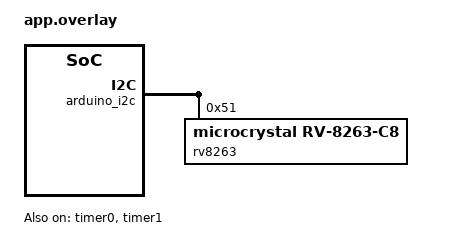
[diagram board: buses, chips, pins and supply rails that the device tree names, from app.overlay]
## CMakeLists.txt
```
cmake_minimum_required(VERSION 3.20.0)
# set(SHIELD x_nucleo_iks01a3)
# set(SHIELD adafruit_2_8_tft_touch_shield_v2)
find_package(Zephyr REQUIRED HINTS $ENV{ZEPHYR_BASE})
project(ZSWatch)

FILE(GLOB_RECURSE app_sources CONFIGURE_DEPENDS src/*.c)
target_sources(app PRIVATE ${app_sources})

target_include_directories(app PRIVATE
    src
    src/model
    src/model/sensors
    src/model/processing
    src/model/rtc
    src/controller
    src/controller/ble
    src/controller/input
    src/controller/thread
    src/vue
    src/vue/ui
    src/vue/ui/components
    src/vue/ui/screens
)
```

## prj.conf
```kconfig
CONFIG_LOG=y
CONFIG_STDOUT_CONSOLE=y
CONFIG_EVENTS=y
CONFIG_I2C=y
CONFIG_SPI=y
CONFIG_GPIO=y
CONFIG_SENSOR=y
CONFIG_SENSOR_LOG_LEVEL_DBG=y
CONFIG_DISPLAY=y
CONFIG_INPUT=y
CONFIG_INPUT_TSC2007=y
CONFIG_LVGL=y
CONFIG_LV_COLOR_DEPTH_16=y
CONFIG_LV_Z_MEM_POOL_SIZE=65536
CONFIG_LV_Z_BITS_PER_PIXEL=16
CONFIG_LV_Z_FULL_REFRESH=n
CONFIG_LV_Z_DOUBLE_VDB=n
CONFIG_LV_Z_VDB_SIZE=20
CONFIG_LV_Z_POINTER_INPUT=y
CONFIG_LV_USE_LOG=n

# Sensor triggers
CONFIG_HTS221_TRIGGER_NONE=y
CONFIG_LPS22HH_TRIGGER_OWN_THREAD=y
CONFIG_STTS751_TRIGGER_NONE=y
CONFIG_LIS2MDL_TRIGGER_NONE=y
CONFIG_LIS2DW12_TRIGGER_OWN_THREAD=y
CONFIG_LSM6DSO_ENABLE_TEMP=n
CONFIG_LSM6DSO_TRIGGER_OWN_THREAD=y

# RTC
CONFIG_RTC=y

# Hardware timers (Counter API) – timer0 (sleep 30s) + timer1 (sample 100ms)
CONFIG_COUNTER=y

# Augumenter size if draw too much on screen
CONFIG_CBPRINTF_FP_SUPPORT=y

# ── BLE ──────────────────────────────────────────
CONFIG_BT=y
CONFIG_BT_PERIPHERAL=y
CONFIG_BT_DEVICE_NAME="Smart Watch Timer_X"
CONFIG_BT_DEVICE_APPEARANCE=0
CONFIG_BT_MAX_CONN=1
CONFIG_BT_MAX_PAIRED=1

# GATT services
CONFIG_BT_DIS=y
CONFIG_BT_DIS_MANUF="Smart Watch Timer_X"
CONFIG_BT_DIS_MODEL="IKS01A3-nRF5340-adafruit_2_8_tft_touch_shield_v2"
CONFIG_BT_BAS=y
CONFIG_BT_GATT_CLIENT=y

CONFIG_SYSTEM_WORKQUEUE_STACK_SIZE=8192
CONFIG_MAIN_STACK_SIZE=4096
CONFIG_BT_RX_STACK_SIZE=2048

# Fusion de capteurs (zscilib)
CONFIG_ZSL=y
```

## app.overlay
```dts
&arduino_i2c {
	status = "okay";
	rv8263: rtc@51 {
		compatible = "microcrystal,rv-8263-c8";
		reg = <0x51>;
		status = "okay";
	};
};

&timer0 {
	status = "okay";
};

&timer1 {
	status = "okay";
};
```

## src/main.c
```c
#include <zephyr/kernel.h>

#include "input/buttons.h"
#include "thread/data_init_thread.h"
#include "thread/sampling_thread.h"
#include "thread/ble_thread.h"
#include "thread/rtc_thread.h"
#include "thread/ui_thread.h"
#include "thread/power_thread.h"

int main(void)
{
	(void)buttons_init();
	data_init_thread_start();
	ui_thread_start();
	k_sleep(K_MSEC(100));
	sampling_thread_start();
	ble_thread_start();
	rtc_thread_start();
	power_thread_start();

	while (1) {
		k_sleep(K_SECONDS(1));
	}
}
```

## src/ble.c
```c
#include <zephyr/kernel.h>
#include <zephyr/bluetooth/bluetooth.h>
#include <zephyr/bluetooth/conn.h>
#include <zephyr/bluetooth/gatt.h>
#include <zephyr/bluetooth/uuid.h>
#include <zephyr/settings/settings.h>
#include <zephyr/logging/log.h>
#include <zephyr/sys/byteorder.h>
#include <string.h>

LOG_MODULE_REGISTER(ble, LOG_LEVEL_INF);

/* ==================== UUIDs standard ==================== */
#define BT_UUID_ESS_VAL              0x181A  // Environmental Sensing Service
#define BT_UUID_TEMPERATURE_VAL       0x2A6E
#define BT_UUID_HUMIDITY_VAL           0x2A6F
#define BT_UUID_PRESSURE_VAL           0x2A6D  // Pression en pascals
#define BT_UUID_MAGNETIC_FLUX_3D_VAL   0x2AA0
#define BT_UUID_ACCELEROMETER_3D_VAL   0x2AA1

/* ==================== UUIDs pour Current Time Service ==================== */
#define BT_UUID_CTS_VAL                0x1805  // Current Time Service
#define BT_UUID_CURRENT_TIME_VAL        0x2A2B  // Current Time characteristic

/* Déclaration des UUID 16 bits */
static const struct bt_uuid_16 ess_uuid = BT_UUID_INIT_16(BT_UUID_ESS_VAL);
static const struct bt_uuid_16 temp_uuid = BT_UUID_INIT_16(BT_UUID_TEMPERATURE_VAL);
static const struct bt_uuid_16 humi_uuid = BT_UUID_INIT_16(BT_UUID_HUMIDITY_VAL);
static const struct bt_uuid_16 press_uuid = BT_UUID_INIT_16(BT_UUID_PRESSURE_VAL);
static const struct bt_uuid_16 mag_uuid = BT_UUID_INIT_16(BT_UUID_MAGNETIC_FLUX_3D_VAL);
static const struct bt_uuid_16 accel_uuid = BT_UUID_INIT_16(BT_UUID_ACCELEROMETER_3D_VAL);
static const struct bt_uuid_16 cts_uuid = BT_UUID_INIT_16(BT_UUID_CTS_VAL);
static const struct bt_uuid_16 current_time_uuid = BT_UUID_INIT_16(BT_UUID_CURRENT_TIME_VAL);

/* ==================== Variables pour les données capteurs ==================== */
static int16_t temp_value;
static uint16_t humi_value;
static uint32_t press_value;          // Pression en pascals
static int16_t mag_value[3];
static int16_t accel_value[3];

/* ==================== Variable pour l'heure (timestamp Unix simplifié) ==================== */
static uint32_t current_time; // secondes depuis 1970 (timestamp Unix)

/* ==================== Callbacks CCC pour les notifications ==================== */
static void temp_ccc_changed(const struct bt_gatt_attr *attr, uint16_t value)
{
    LOG_INF("Notifications température %s", (value == BT_GATT_CCC_NOTIFY) ? "activées" : "désactivées");
}

static void humi_ccc_changed(const struct bt_gatt_attr *attr, uint16_t value)
{
    LOG_INF("Notifications humidité %s", (value == BT_GATT_CCC_NOTIFY) ? "activées" : "désactivées");
}

static void press_ccc_changed(const struct bt_gatt_attr *attr, uint16_t value)
{
    LOG_INF("Notifications pression %s", (value == BT_GATT_CCC_NOTIFY) ? "activées" : "désactivées");
}

static void mag_ccc_changed(const struct bt_gatt_attr *attr, uint16_t value)
{
    LOG_INF("Notifications magnétomètre %s", (value == BT_GATT_CCC_NOTIFY) ? "activées" : "désactivées");
}

static void accel_ccc_changed(const struct bt_gatt_attr *attr, uint16_t value)
{
    LOG_INF("Notifications accélération %s", (value == BT_GATT_CCC_NOTIFY) ? "activées" : "désactivées");
}

/* ==================== Fonctions de lecture pour les caractéristiques ==================== */
static ssize_t read_temp(struct bt_conn *conn, const struct bt_gatt_attr *attr,
                         void *buf, uint16_t len, uint16_t offset)
{
    return bt_gatt_attr_read(conn, attr, buf, len, offset, &temp_value, sizeof(temp_value));
}

static ssize_t read_humi(struct bt_conn *conn, const struct bt_gatt_attr *attr,
                         void *buf, uint16_t len, uint16_t offset)
{
    return bt_gatt_attr_read(conn, attr, buf, len, offset, &humi_value, sizeof(humi_value));
}

static ssize_t read_press(struct bt_conn *conn, const struct bt_gatt_attr *attr,
                          void *buf, uint16_t len, uint16_t offset)
{
    return bt_gatt_attr_read(conn, attr, buf, len, offset, &press_value, sizeof(press_value));
}

static ssize_t read_mag(struct bt_conn *conn, const struct bt_gatt_attr *attr,
                        void *buf, uint16_t len, uint16_t offset)
{
    return bt_gatt_attr_read(conn, attr, buf, len, offset, mag_value, sizeof(mag_value));
}

static ssize_t read_accel(struct bt_conn *conn, const struct bt_gatt_attr *attr,
                          void *buf, uint16_t len, uint16_t offset)
{
    return bt_gatt_attr_read(conn, attr, buf, len, offset, accel_value, sizeof(accel_value));
}

/* ==================== Callback d'écriture pour la caractéristique Current Time ==================== */
static ssize_t write_current_time(struct bt_conn *conn,
                                   const struct bt_gatt_attr *attr,
                                   const void *buf, uint16_t len, uint16_t offset,
                                   uint8_t flags)
{
    LOG_INF("write_current_time called with len=%d", len);
    if (len != sizeof(current_time)) {
        LOG_ERR("Invalid length: %d (expected %d)", len, sizeof(current_time));
        return BT_GATT_ERR(BT_ATT_ERR_INVALID_ATTRIBUTE_LEN);
    }
    memcpy(&current_time, buf, sizeof(current_time));
    LOG_INF("Heure reçue via BLE : %u (timestamp Unix)", current_time);
    return len;
}

/* ==================== Lecture de la caractéristique Current Time ==================== */
static ssize_t read_current_time(struct bt_conn *conn,
                                   const struct bt_gatt_attr *attr,
                                   void *buf, uint16_t len, uint16_t offset)
{
    return bt_gatt_attr_read(conn, attr, buf, len, offset, &current_time, sizeof(current_time));
}

/* ==================== Définition des services GATT ==================== */

/* Service Environmental Sensing (ESS) */
BT_GATT_SERVICE_DEFINE(sensor_svc,
    BT_GATT_PRIMARY_SERVICE(&ess_uuid),

    /* Température */
    BT_GATT_CHARACTERISTIC(&temp_uuid.uuid,
                           BT_GATT_CHRC_READ | BT_GATT_CHRC_NOTIFY,
                           BT_GATT_PERM_READ,
                           read_temp, NULL, &temp_value),
    BT_GATT_CCC(temp_ccc_changed, BT_GATT_PERM_READ | BT_GATT_PERM_WRITE),

    /* Humidité */
    BT_GATT_CHARACTERISTIC(&humi_uuid.uuid,
                           BT_GATT_CHRC_READ | BT_GATT_CHRC_NOTIFY,
                           BT_GATT_PERM_READ,
                           read_humi, NULL, &humi_value),
    BT_GATT_CCC(humi_ccc_changed, BT_GATT_PERM_READ | BT_GATT_PERM_WRITE),

    /* Pression */
    BT_GATT_CHARACTERISTIC(&press_uuid.uuid,
                           BT_GATT_CHRC_READ | BT_GATT_CHRC_NOTIFY,
                           BT_GATT_PERM_READ,
                           read_press, NULL, &press_value),
    BT_GATT_CCC(press_ccc_changed, BT_GATT_PERM_READ | BT_GATT_PERM_WRITE),

    /* Magnétomètre */
    BT_GATT_CHARACTERISTIC(&mag_uuid.uuid,
                           BT_GATT_CHRC_READ | BT_GATT_CHRC_NOTIFY,
                           BT_GATT_PERM_READ,
                           read_mag, NULL, mag_value),
    BT_GATT_CCC(mag_ccc_changed, BT_GATT_PERM_READ | BT_GATT_PERM_WRITE),

    /* Accéléromètre */
    BT_GATT_CHARACTERISTIC(&accel_uuid.uuid,
                           BT_GATT_CHRC_READ | BT_GATT_CHRC_NOTIFY,
                           BT_GATT_PERM_READ,
                           read_accel, NULL, accel_value),
    BT_GATT_CCC(accel_ccc_changed, BT_GATT_PERM_READ | BT_GATT_PERM_WRITE),
);

/* Service Current Time (CTS) */
BT_GATT_SERVICE_DEFINE(cts_svc,
    BT_GATT_PRIMARY_SERVICE(&cts_uuid),
    BT_GATT_CHARACTERISTIC(&current_time_uuid.uuid,
                           BT_GATT_CHRC_READ | BT_GATT_CHRC_WRITE,
                           BT_GATT_PERM_READ | BT_GATT_PERM_WRITE,
                           read_current_time, write_current_time, &current_time),
);

/* Récupération des attributs pour les notifications (ESS) */
#define TEMP_ATTR  (&sensor_svc.attrs[2])
#define HUMI_ATTR  (&sensor_svc.attrs[5])
#define PRESS_ATTR (&sensor_svc.attrs[8])
#define MAG_ATTR   (&sensor_svc.attrs[11])
#define ACCEL_ATTR (&sensor_svc.attrs[14])

/* ==================== Callbacks de connexion ==================== */
static void connected(struct bt_conn *conn, uint8_t err)
{
    if (err) {
        LOG_ERR("Échec de connexion (err %u)", err);
    } else {
        LOG_INF("Connecté");
    }
}

static void disconnected(struct bt_conn *conn, uint8_t reason)
{
    LOG_INF("Déconnecté (raison %u)", reason);
}

BT_CONN_CB_DEFINE(conn_callbacks) = {
    .connected = connected,
    .disconnected = disconnected,
};

/* ==================== Publicité ==================== */
static const struct bt_data ad[] = {
    BT_DATA_BYTES(BT_DATA_FLAGS, (BT_LE_AD_GENERAL | BT_LE_AD_NO_BREDR)),
    BT_DATA(BT_DATA_NAME_COMPLETE, CONFIG_BT_DEVICE_NAME, sizeof(CONFIG_BT_DEVICE_NAME)-1),
};

static const struct bt_data sd[] = {
    BT_DATA_BYTES(BT_DATA_UUID16_ALL,
                  BT_UUID_ESS_VAL & 0xFF, BT_UUID_ESS_VAL >> 8,
                  BT_UUID_CTS_VAL & 0xFF, BT_UUID_CTS_VAL >> 8),
};

/* ==================== Initialisation ==================== */
void ble_init(void)
{
    int err;

    err = bt_enable(NULL);
    if (err) {
        LOG_ERR("bt_enable failed (err %d)", err);
        return;
    }

    LOG_INF("Bluetooth initialisé");

    /* Charger les settings (bonding) */
    settings_load();

    err = bt_le_adv_start(BT_LE_ADV_CONN, ad, ARRAY_SIZE(ad), sd, ARRAY_SIZE(sd));
    if (err) {
        LOG_ERR("Publicité échouée (err %d)", err);
    } else {
        LOG_INF("Publicité active. Nom : %s", CONFIG_BT_DEVICE_NAME);
    }
}

/* ==================== Mise à jour des données capteurs ==================== */
void ble_update_temperature(int16_t temp_100)
{
    temp_value = temp_100;
    uint8_t buf[2];
    sys_put_le16(temp_value, buf);
    bt_gatt_notify(NULL, TEMP_ATTR, buf, sizeof(buf));
}

void ble_update_humidity(uint16_t humi_100)
{
    humi_value = humi_100;
    uint8_t buf[2];
    sys_put_le16(humi_value, buf);
    bt_gatt_notify(NULL, HUMI_ATTR, buf, sizeof(buf));
}

void ble_update_pressure(uint32_t pressure)
{
    press_value = pressure;
    uint8_t buf[4];
    sys_put_le32(press_value, buf);
    bt_gatt_notify(NULL, PRESS_ATTR, buf, sizeof(buf));
}

void ble_update_magnetometer(int16_t x_100, int16_t y_100, int16_t z_100)
{
    mag_value[0] = x_100;
    mag_value[1] = y_100;
    mag_value[2] = z_100;
    bt_gatt_notify(NULL, MAG_ATTR, mag_value, sizeof(mag_value));
}

void ble_update_acceleration(int16_t x_100, int16_t y_100, int16_t z_100)
{
    accel_value[0] = x_100;
    accel_value[1] = y_100;
    accel_value[2] = z_100;
    bt_gatt_notify(NULL, ACCEL_ATTR, accel_value, sizeof(accel_value));
}

/* ==================== Fonction pour obtenir l'heure (pour la RTC) ==================== */
uint32_t ble_get_current_time(void)
{
    return current_time;
}
```

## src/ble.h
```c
#ifndef BLE_H
#define BLE_H

#include <zephyr/types.h>

/**
 * @brief Initialise le BLE, démarre la publicité.
 */
void ble_init(void);

/**
 * @brief Met à jour la température (valeur en 0.01 °C)
 * @param temp_100 temperature * 100 (ex: 25.0°C -> 2500)
 */
void ble_update_temperature(int16_t temp_100);

/**
 * @brief Met à jour l'humidité (valeur en 0.01 %)
 * @param humi_100 humidité * 100 (ex: 50.0% -> 5000)
 */
void ble_update_humidity(uint16_t humi_100);

/**
 * @brief Met à jour la pression (valeur en Pa, ou 0.01 kPa)
 *        À adapter selon le format choisi.
 * @param pressure pression en pascals (ex: 101325)
 */
void ble_update_pressure(uint32_t pressure);

/**
 * @brief Met à jour l'accélération (axes en 0.01 m/s² ou 0.01 G)
 * @param x_100, y_100, z_100 valeurs * 100
 */
void ble_update_acceleration(int16_t x_100, int16_t y_100, int16_t z_100);

/**
 * @brief Met à jour le champ magnétique (axes en 0.01 µT)
 * @param x_100, y_100, z_100 valeurs * 100
 */
void ble_update_magnetometer(int16_t x_100, int16_t y_100, int16_t z_100);

#endif /* BLE_H */
```

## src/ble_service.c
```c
#include "ble_service.h"
#include <zephyr/kernel.h>
#include <zephyr/bluetooth/bluetooth.h>
#include <zephyr/bluetooth/hci.h>
#include <zephyr/bluetooth/conn.h>
#include <zephyr/bluetooth/gatt.h>
#include <zephyr/bluetooth/uuid.h>
#include <zephyr/logging/log.h>
#include <string.h>

LOG_MODULE_REGISTER(ble_service, LOG_LEVEL_INF);

/* ================================================================
 *  UUIDs standards BLE SIG (nRF Connect les décode automatiquement)
 * ================================================================
 *  Service : Environmental Sensing (0x181A)
 *  Chars   : Temperature (0x2A6E), Humidity (0x2A6F), Pressure (0x2A6D)
 *
 *  Service custom : mouvement 12345678-1234-5678-1234-56789abc0000
 *  Chars   : Accel (…0004), Magn (…0005), Steps (…0006)
 * ================================================================ */

/* ── UUIDs custom pour mouvement ──────────────────────────────── */
#define BT_UUID_MOTION_SVC_VAL \
    BT_UUID_128_ENCODE(0x12345678, 0x1234, 0x5678, 0x1234, 0x56789abc0000)

#define BT_UUID_CHAR_ACCEL_VAL \
    BT_UUID_128_ENCODE(0x12345678, 0x1234, 0x5678, 0x1234, 0x56789abc0004)

#define BT_UUID_CHAR_MAGN_VAL \
    BT_UUID_128_ENCODE(0x12345678, 0x1234, 0x5678, 0x1234, 0x56789abc0005)

#define BT_UUID_CHAR_STEPS_VAL \
    BT_UUID_128_ENCODE(0x12345678, 0x1234, 0x5678, 0x1234, 0x56789abc0006)

static struct bt_uuid_128 motion_svc_uuid = BT_UUID_INIT_128(BT_UUID_MOTION_SVC_VAL);
static struct bt_uuid_128 accel_uuid      = BT_UUID_INIT_128(BT_UUID_CHAR_ACCEL_VAL);
static struct bt_uuid_128 magn_uuid       = BT_UUID_INIT_128(BT_UUID_CHAR_MAGN_VAL);
static struct bt_uuid_128 steps_uuid      = BT_UUID_INIT_128(BT_UUID_CHAR_STEPS_VAL);

/* ================================================================
 *  Données internes
 * ================================================================ */
static struct ble_sensor_data current_data;
static struct bt_conn *current_conn;

/* ── Flags notification (CCC) ─────────────────────────────────── */
static bool notify_temp_enabled;
static bool notify_hum_enabled;
static bool notify_press_enabled;
static bool notify_accel_enabled;
static bool notify_magn_enabled;
static bool notify_steps_enabled;

/* ================================================================
 *  Lecture GATT – callbacks
 * ================================================================ */

/* ── Environmental Sensing chars ──────────────────────────────── */
static ssize_t read_temp(struct bt_conn *conn,
                         const struct bt_gatt_attr *attr,
                         void *buf, uint16_t len, uint16_t offset)
{
    return bt_gatt_attr_read(conn, attr, buf, len, offset,
                             &current_data.temperature,
                             sizeof(current_data.temperature));
}

static ssize_t read_hum(struct bt_conn *conn,
                        const struct bt_gatt_attr *attr,
                        void *buf, uint16_t len, uint16_t offset)
{
    return bt_gatt_attr_read(conn, attr, buf, len, offset,
                             &current_data.humidity,
                             sizeof(current_data.humidity));
}

static ssize_t read_press(struct bt_conn *conn,
                          const struct bt_gatt_attr *attr,
                          void *buf, uint16_t len, uint16_t offset)
{
    return bt_gatt_attr_read(conn, attr, buf, len, offset,
                             &current_data.pressure,
                             sizeof(current_data.pressure));
}

/* ── Motion chars ─────────────────────────────────────────────── */
static ssize_t read_accel(struct bt_conn *conn,
                          const struct bt_gatt_attr *attr,
                          void *buf, uint16_t len, uint16_t offset)
{
    return bt_gatt_attr_read(conn, attr, buf, len, offset,
                             &current_data.accel,
                             sizeof(current_data.accel));
}

static ssize_t read_magn(struct bt_conn *conn,
                         const struct bt_gatt_attr *attr,
                         void *buf, uint16_t len, uint16_t offset)
{
    return bt_gatt_attr_read(conn, attr, buf, len, offset,
                             &current_data.magn,
                             sizeof(current_data.magn));
}

static ssize_t read_steps(struct bt_conn *conn,
                          const struct bt_gatt_attr *attr,
                          void *buf, uint16_t len, uint16_t offset)
{
    return bt_gatt_attr_read(conn, attr, buf, len, offset,
                             &current_data.steps,
                             sizeof(current_data.steps));
}

/* ── CCC changed callbacks ────────────────────────────────────── */
static void ccc_temp_changed(const struct bt_gatt_attr *attr, uint16_t value)
{
    notify_temp_enabled = (value == BT_GATT_CCC_NOTIFY);
    LOG_INF("Temp notifications %s", notify_temp_enabled ? "ON" : "OFF");
}

static void ccc_hum_changed(const struct bt_gatt_attr *attr, uint16_t value)
{
    notify_hum_enabled = (value == BT_GATT_CCC_NOTIFY);
    LOG_INF("Humidity notifications %s", notify_hum_enabled ? "ON" : "OFF");
}

static void ccc_press_changed(const struct bt_gatt_attr *attr, uint16_t value)
{
    notify_press_enabled = (value == BT_GATT_CCC_NOTIFY);
    LOG_INF("Pressure notifications %s", notify_press_enabled ? "ON" : "OFF");
}

static void ccc_accel_changed(const struct bt_gatt_attr *attr, uint16_t value)
{
    notify_accel_enabled = (value == BT_GATT_CCC_NOTIFY);
    LOG_INF("Accel notifications %s", notify_accel_enabled ? "ON" : "OFF");
}

static void ccc_magn_changed(const struct bt_gatt_attr *attr, uint16_t value)
{
    notify_magn_enabled = (value == BT_GATT_CCC_NOTIFY);
    LOG_INF("Magn notifications %s", notify_magn_enabled ? "ON" : "OFF");
}

static void ccc_steps_changed(const struct bt_gatt_attr *attr, uint16_t value)
{
    notify_steps_enabled = (value == BT_GATT_CCC_NOTIFY);
    LOG_INF("Steps notifications %s", notify_steps_enabled ? "ON" : "OFF");
}

/* ================================================================
 *  Service 1 : Environmental Sensing (UUID standard 0x181A)
 *  → nRF Connect affiche automatiquement "Temperature", "Humidity",
 *    "Pressure" avec les bonnes unités.
 * ================================================================ */
BT_GATT_SERVICE_DEFINE(ess_svc,
    BT_GATT_PRIMARY_SERVICE(BT_UUID_ESS),

    /* Temperature – UUID 0x2A6E – int16, résolution 0.01 °C */
    BT_GATT_CHARACTERISTIC(BT_UUID_TEMPERATURE,
                           BT_GATT_CHRC_READ | BT_GATT_CHRC_NOTIFY,
                           BT_GATT_PERM_READ,
                           read_temp, NULL, NULL),
    BT_GATT_CCC(ccc_temp_changed, BT_GATT_PERM_READ | BT_GATT_PERM_WRITE),

    /* Humidity – UUID 0x2A6F – uint16, résolution 0.01 % */
    BT_GATT_CHARACTERISTIC(BT_UUID_HUMIDITY,
                           BT_GATT_CHRC_READ | BT_GATT_CHRC_NOTIFY,
                           BT_GATT_PERM_READ,
                           read_hum, NULL, NULL),
    BT_GATT_CCC(ccc_hum_changed, BT_GATT_PERM_READ | BT_GATT_PERM_WRITE),

    /* Pressure – UUID 0x2A6D – uint32, résolution 0.1 Pa */
    BT_GATT_CHARACTERISTIC(BT_UUID_PRESSURE,
                           BT_GATT_CHRC_READ | BT_GATT_CHRC_NOTIFY,
                           BT_GATT_PERM_READ,
                           read_press, NULL, NULL),
    BT_GATT_CCC(ccc_press_changed, BT_GATT_PERM_READ | BT_GATT_PERM_WRITE),
);

/* ================================================================
 *  Service 2 : Motion (UUID custom) avec User Description
 *  → Les descripteurs permettent à nRF Connect d'afficher
 *    le nom de chaque caractéristique.
 * ================================================================ */
BT_GATT_SERVICE_DEFINE(motion_svc,
    BT_GATT_PRIMARY_SERVICE(&motion_svc_uuid),

    /* Accéléromètre (3 × int16, mg) */
    BT_GATT_CHARACTERISTIC(&accel_uuid.uuid,
                           BT_GATT_CHRC_READ | BT_GATT_CHRC_NOTIFY,
                           BT_GATT_PERM_READ,
                           read_accel, NULL, NULL),
    BT_GATT_DESCRIPTOR(BT_UUID_GATT_CUD, BT_GATT_PERM_READ,
                        NULL, NULL, (void *)"Accelerometer XYZ (mg)"),
    BT_GATT_CCC(ccc_accel_changed, BT_GATT_PERM_READ | BT_GATT_PERM_WRITE),

    /* Magnétomètre (3 × int16, mGauss) */
    BT_GATT_CHARACTERISTIC(&magn_uuid.uuid,
                           BT_GATT_CHRC_READ | BT_GATT_CHRC_NOTIFY,
                           BT_GATT_PERM_READ,
                           read_magn, NULL, NULL),
    BT_GATT_DESCRIPTOR(BT_UUID_GATT_CUD, BT_GATT_PERM_READ,
                        NULL, NULL, (void *)"Magnetometer XYZ (mGauss)"),
    BT_GATT_CCC(ccc_magn_changed, BT_GATT_PERM_READ | BT_GATT_PERM_WRITE),

    /* Compteur de pas (uint32) */
    BT_GATT_CHARACTERISTIC(&steps_uuid.uuid,
                           BT_GATT_CHRC_READ | BT_GATT_CHRC_NOTIFY,
                           BT_GATT_PERM_READ,
                           read_steps, NULL, NULL),
    BT_GATT_DESCRIPTOR(BT_UUID_GATT_CUD, BT_GATT_PERM_READ,
                        NULL, NULL, (void *)"Step Counter"),
    BT_GATT_CCC(ccc_steps_changed, BT_GATT_PERM_READ | BT_GATT_PERM_WRITE),
);

/* ================================================================
 *  Advertising – annonce ESS standard pour que les scanners
 *  sachent qu'on propose des données environnementales.
 * ================================================================ */
static const struct bt_data ad[] = {
    BT_DATA_BYTES(BT_DATA_FLAGS,
                  BT_LE_AD_GENERAL | BT_LE_AD_NO_BREDR),
    BT_DATA_BYTES(BT_DATA_UUID16_ALL,
                  BT_UUID_16_ENCODE(BT_UUID_ESS_VAL)),
};

static const struct bt_data sd[] = {
    BT_DATA(BT_DATA_NAME_COMPLETE, "Smart Watch Sensor Hub",
            sizeof("Smart Watch Sensor Hub") - 1),
};

/* ================================================================
 *  Connexion callbacks
 * ================================================================ */
static void connected(struct bt_conn *conn, uint8_t err)
{
    if (err) {
        LOG_ERR("Connection failed (err %u)", err);
        return;
    }
    LOG_INF("BLE Connected");
    current_conn = bt_conn_ref(conn);
}

static void disconnected(struct bt_conn *conn, uint8_t reason)
{
    LOG_INF("BLE Disconnected (reason %u)", reason);
    if (current_conn) {
        bt_conn_unref(current_conn);
        current_conn = NULL;
    }
}

BT_CONN_CB_DEFINE(conn_callbacks) = {
    .connected    = connected,
    .disconnected = disconnected,
};

/* ================================================================
 *  API publique
 * ================================================================ */
int ble_service_init(void)
{
    int err;

    err = bt_enable(NULL);
    if (err) {
        LOG_ERR("Bluetooth init failed (err %d)", err);
        return err;
    }
    LOG_INF("Bluetooth initialized");

    err = bt_le_adv_start(BT_LE_ADV_CONN, ad, ARRAY_SIZE(ad),
                          sd, ARRAY_SIZE(sd));
    if (err) {
        LOG_ERR("Advertising failed to start (err %d)", err);
        return err;
    }
    LOG_INF("BLE Advertising started as \"Smart Watch Sensor Hub\"");

    return 0;
}

bool ble_service_is_connected(void)
{
    return (current_conn != NULL);
}

/* ── Helper : envoyer une notification ─────────────────────────── */
static void notify_attr(const struct bt_gatt_attr *attr,
                        const void *data, uint16_t len, bool enabled)
{
    if (!enabled || !current_conn) {
        return;
    }

    int err = bt_gatt_notify(current_conn, attr, data, len);
    if (err && err != -ENOTCONN) {
        LOG_WRN("Notify failed (err %d)", err);
    }
}

void ble_service_update(const struct ble_sensor_data *data)
{
    memcpy(&current_data, data, sizeof(current_data));

    /*
     * ess_svc.attrs[] indices :
     *   0  = Service ESS
     *   1  = Char decl temp,  2 = value temp,  3 = CCC temp
     *   4  = Char decl hum,   5 = value hum,   6 = CCC hum
     *   7  = Char decl press, 8 = value press,  9 = CCC press
     *
     * motion_svc.attrs[] indices :
     *   0  = Service Motion
     *   1  = Char decl accel, 2 = value accel, 3 = CUD, 4 = CCC accel
     *   5  = Char decl magn,  6 = value magn,  7 = CUD, 8 = CCC magn
     *   9  = Char decl steps,10 = value steps, 11= CUD, 12= CCC steps
     */
    notify_attr(&ess_svc.attrs[2],
                &current_data.temperature, sizeof(current_data.temperature),
                notify_temp_enabled);

    notify_attr(&ess_svc.attrs[5],
                &current_data.humidity, sizeof(current_data.humidity),
                notify_hum_enabled);

    notify_attr(&ess_svc.attrs[8],
                &current_data.pressure, sizeof(current_data.pressure),
                notify_press_enabled);

    notify_attr(&motion_svc.attrs[2],
                &current_data.accel, sizeof(current_data.accel),
                notify_accel_enabled);

    notify_attr(&motion_svc.attrs[6],
                &current_data.magn, sizeof(current_data.magn),
                notify_magn_enabled);

    notify_attr(&motion_svc.attrs[10],
                &current_data.steps, sizeof(current_data.steps),
                notify_steps_enabled);
}
```

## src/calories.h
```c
#ifndef CALORIES_H
#define CALORIES_H

#include <stdint.h>
#include "activity.h"   // pour activity_t

typedef struct {
    double weight_kg;        // poids de l'utilisateur en kg
    double total_calories;   // calories totales brûlées
} CaloriesCounter;

void calories_init(CaloriesCounter *cc, double weight_kg);
void calories_add_distance(CaloriesCounter *cc, double distance_m, activity_t activity);
double calories_get(const CaloriesCounter *cc);
void calories_reset(CaloriesCounter *cc);

#endif
```

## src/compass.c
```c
#include "compass.h"
#include <math.h>

#define PI 3.14159265358979323846

void compass_init(Compass *comp)
{
    comp->heading = 0.0;
    comp->x = comp->y = comp->z = 0.0;
    // Si calibration, mettre les offsets à zéro
    comp->offset_x = comp->offset_y = comp->offset_z = 0.0;
}

void compass_update(Compass *comp, const struct sensor_value magn[3])
{
    // Convertir les valeurs en double
    double mx = sensor_value_to_double(&magn[0]);
    double my = sensor_value_to_double(&magn[1]);
    double mz = sensor_value_to_double(&magn[2]);

    // Appliquer les offsets de calibration si nécessaire
    mx -= comp->offset_x;
    my -= comp->offset_y;
    mz -= comp->offset_z;

    comp->x = mx;
    comp->y = my;
    comp->z = mz;

    // Calcul de l'angle (en radians) en utilisant X et Y
    double angle_rad = atan2(my, mx);
    // Conversion en degrés et mise dans l'intervalle [0, 360)
    double angle_deg = angle_rad * 180.0 / PI;
    if (angle_deg < 0) {
        angle_deg += 360.0;
    }
    comp->heading = angle_deg;
}

double compass_get_heading(const Compass *comp)
{
    return comp->heading;
}
```

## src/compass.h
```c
#ifndef COMPASS_H
#define COMPASS_H

#include <zephyr/drivers/sensor.h>
#include <stdint.h>

typedef struct {
    double heading;         // angle en degrés (0-360)
    double x, y, z;         // dernières valeurs brutes (en µT)
    double offset_x, offset_y, offset_z; // calibration (optionnel)
} Compass;

void compass_init(Compass *comp);
void compass_update(Compass *comp, const struct sensor_value magn[3]);
double compass_get_heading(const Compass *comp);
const char* compass_direction_to_str(double heading);   // <-- ajout

#endif /* COMPASS_H */
```

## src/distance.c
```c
#include "distance.h"

void distance_init(DistanceCounter *dc, double stride_length)
{
    dc->stride_length = stride_length;
    dc->total_distance = 0.0;
}

void distance_add_steps(DistanceCounter *dc, uint32_t steps_added)
{
    dc->total_distance += steps_added * dc->stride_length;
}

double distance_get(const DistanceCounter *dc)
{
    return dc->total_distance;
}

void distance_reset(DistanceCounter *dc)
{
    dc->total_distance = 0.0;
}
```

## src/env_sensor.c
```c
#include "env_sensor.h"
#include <zephyr/device.h>

int env_init(EnvSensor *s) {
    // Récupération des instances depuis le Device Tree
    s->hts221 = DEVICE_DT_GET_ONE(st_hts221);
    s->lps22hh = DEVICE_DT_GET_ONE(st_lps22hh);

    if (!device_is_ready(s->hts221) || !device_is_ready(s->lps22hh)) {
        return -1;
    }

    // Configuration de la fréquence du LPS22HH à 100 Hz
    struct sensor_value odr = { .val1 = 100, .val2 = 0 };
    sensor_attr_set(s->lps22hh, SENSOR_CHAN_ALL, SENSOR_ATTR_SAMPLING_FREQUENCY, &odr);

    return 0;
}

int env_update(EnvSensor *s) {
    // Lecture des échantillons (Fetch)
    if (sensor_sample_fetch(s->hts221) < 0 || sensor_sample_fetch(s->lps22hh) < 0) {
        return -1;
    }

    // Extraction des données (Get)
    sensor_channel_get(s->hts221, SENSOR_CHAN_AMBIENT_TEMP, &s->temp_hts);
    sensor_channel_get(s->hts221, SENSOR_CHAN_HUMIDITY, &s->humidity);
    sensor_channel_get(s->lps22hh, SENSOR_CHAN_PRESS, &s->pressure);
    sensor_channel_get(s->lps22hh, SENSOR_CHAN_AMBIENT_TEMP, &s->temp_lps);

    return 0;
}
```

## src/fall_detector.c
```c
#include "fall_detector.h"
#include <math.h>
#include <zephyr/kernel.h>

#define IMPACT_THRESHOLD 30.0   // m/s² (environ 3g)
#define POST_IMPACT_DURATION 2000 // ms
#define REST_THRESHOLD 1.2       // m/s²

void fall_detector_init(FallDetector *fd)
{
    fd->state = FALL_STATE_NORMAL;
    fd->impact_time = 0;
    fd->fall_detected = false;
}

bool fall_detector_update(FallDetector *fd, double ax, double ay, double az)
{
    double mag = sqrt(ax*ax + ay*ay + az*az);
    int64_t now = k_uptime_get();
    bool fall_now = false;

    switch (fd->state) {
        case FALL_STATE_NORMAL:
            if (mag > IMPACT_THRESHOLD) {
                fd->state = FALL_STATE_IMPACT;
                fd->impact_time = now;
            }
            break;

        case FALL_STATE_IMPACT:
            if (mag < REST_THRESHOLD) {
                fd->state = FALL_STATE_POST_IMPACT;
            } else if (now - fd->impact_time > 500) {
                fd->state = FALL_STATE_NORMAL;
            }
            break;

        case FALL_STATE_POST_IMPACT:
            if (mag < REST_THRESHOLD) {
                if (now - fd->impact_time > POST_IMPACT_DURATION) {
                    fd->fall_detected = true;
                    fall_now = true;
                    fd->state = FALL_STATE_NORMAL;
                }
            } else {
                fd->state = FALL_STATE_NORMAL;
            }
            break;
    }
    return fall_now;
}

bool fall_detector_get_and_clear(FallDetector *fd)
{
    bool ret = fd->fall_detected;
    fd->fall_detected = false;
    return ret;
}
```

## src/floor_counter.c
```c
#include "floor_counter.h"
#include <math.h>

#define FLOOR_HEIGHT 3.0   // hauteur moyenne d'un étage en mètres

void floor_counter_init(FloorCounter *fc)
{
    fc->floor_count = 0;
    fc->last_altitude = 0.0;
    fc->initialized = false;
}

void floor_counter_update(FloorCounter *fc, double altitude_m)
{
    if (!fc->initialized) {
        fc->last_altitude = altitude_m;
        fc->initialized = true;
        return;
    }

    double diff = altitude_m - fc->last_altitude;
    if (fabs(diff) >= FLOOR_HEIGHT / 2.0) {
        int floors = (int)(diff / FLOOR_HEIGHT);
        fc->floor_count += floors;
        fc->last_altitude = altitude_m;
    }
}

int floor_counter_get(const FloorCounter *fc)
{
    return fc->floor_count;
}
```

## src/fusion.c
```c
#include "fusion.h"
#include <math.h>

#define _USE_MATH_DEFINES
#include <math.h>
#ifndef M_PI
#define M_PI 3.14159265358979323846
#endif

#define BETA 0.1f  // paramètre du filtre Madgwick (à ajuster)

static float q0 = 1.0f, q1 = 0.0f, q2 = 0.0f, q3 = 0.0f; // quaternion

void fusion_init(void)
{
    q0 = 1.0f;
    q1 = q2 = q3 = 0.0f;
}

static void madgwick_update(float gx, float gy, float gz,
                            float ax, float ay, float az,
                            float mx, float my, float mz,
                            float dt)
{
    float recipNorm;
    float s0, s1, s2, s3;
    float qDot1, qDot2, qDot3, qDot4;
    float hx, hy;
    float _2q0mx, _2q0my, _2q0mz, _2q1mx, _2bx, _2bz, _4bx, _4bz, _2q0, _2q1, _2q2, _2q3, _2q0q2, _2q2q3, q0q0, q0q1, q0q2, q0q3, q1q1, q1q2, q1q3, q2q2, q2q3, q3q3;

    // Dérivée du quaternion à partir du gyroscope
    qDot1 = 0.5f * (-q1 * gx - q2 * gy - q3 * gz);
    qDot2 = 0.5f * ( q0 * gx + q2 * gz - q3 * gy);
    qDot3 = 0.5f * ( q0 * gy - q1 * gz + q3 * gx);
    qDot4 = 0.5f * ( q0 * gz + q1 * gy - q2 * gx);

    // Calcul du retour d'erreur seulement si accéléromètre et magnétomètre sont disponibles
    if (!(ax == 0.0f && ay == 0.0f && az == 0.0f)) {

        // Normalisation accéléromètre
        recipNorm = 1.0f / sqrtf(ax * ax + ay * ay + az * az);
        ax *= recipNorm;
        ay *= recipNorm;
        az *= recipNorm;

        // Normalisation magnétomètre
        recipNorm = 1.0f / sqrtf(mx * mx + my * my + mz * mz);
        mx *= recipNorm;
        my *= recipNorm;
        mz *= recipNorm;

        // Variables auxiliaires
        _2q0mx = 2.0f * q0 * mx;
        _2q0my = 2.0f * q0 * my;
        _2q0mz = 2.0f * q0 * mz;
        _2q1mx = 2.0f * q1 * mx;
        _2q0 = 2.0f * q0;
        _2q1 = 2.0f * q1;
        _2q2 = 2.0f * q2;
        _2q3 = 2.0f * q3;
        _2q0q2 = 2.0f * q0 * q2;
        _2q2q3 = 2.0f * q2 * q3;
        q0q0 = q0 * q0;
        q0q1 = q0 * q1;
        q0q2 = q0 * q2;
        q0q3 = q0 * q3;
        q1q1 = q1 * q1;
        q1q2 = q1 * q2;
        q1q3 = q1 * q3;
        q2q2 = q2 * q2;
        q2q3 = q2 * q3;
        q3q3 = q3 * q3;

        // Direction de référence du champ magnétique terrestre
        hx = mx * q0q0 - _2q0my * q3 + _2q0mz * q2 + mx * q1q1 + _2q1 * my * q2 + _2q1 * mz * q3 - mx * q2q2 - mx * q3q3;
        hy = _2q0mx * q3 + my * q0q0 - _2q0mz * q1 + _2q1mx * q2 - my * q1q1 + my * q2q2 + _2q2 * mz * q3 - my * q3q3;
        _2bx = sqrtf(hx * hx + hy * hy);
        _2bz = -_2q0mx * q2 + _2q0my * q1 + mz * q0q0 + _2q1mx * q3 - mz * q1q1 + _2q2 * my * q3 - mz * q2q2 + mz * q3q3;
        _4bx = 2.0f * _2bx;
        _4bz = 2.0f * _2bz;

        // Pas de correction du gradient
        s0 = -_2q2 * (2.0f * q1q3 - _2q0q2 - ax) + _2q1 * (2.0f * q0q1 + _2q2q3 - ay) - _2bz * q2 * (_2bx * (0.5f - q2q2 - q3q3) + _2bz * (q1q3 - q0q2) - mx) + (-_2bx * q3 + _2bz * q1) * (_2bx * (q1q2 - q0q3) + _2bz * (q0q1 + q2q3) - my) + _2bx * q2 * (_2bx * (q0q2 + q1q3) + _2bz * (0.5f - q1q1 - q2q2) - mz);
        s1 = _2q3 * (2.0f * q1q3 - _2q0q2 - ax) + _2q0 * (2.0f * q0q1 + _2q2q3 - ay) - 4.0f * q1 * (1 - 2.0f * q1q1 - 2.0f * q2q2 - az) + _2bz * q3 * (_2bx * (0.5f - q2q2 - q3q3) + _2bz * (q1q3 - q0q2) - mx) + (_2bx * q2 + _2bz * q0) * (_2bx * (q1q2 - q0q3) + _2bz * (q0q1 + q2q3) - my) + (_2bx * q3 - _4bz * q1) * (_2bx * (q0q2 + q1q3) + _2bz * (0.5f - q1q1 - q2q2) - mz);
        s2 = -_2q0 * (2.0f * q1q3 - _2q0q2 - ax) + _2q3 * (2.0f * q0q1 + _2q2q3 - ay) - 4.0f * q2 * (1 - 2.0f * q1q1 - 2.0f * q2q2 - az) + (-_4bx * q2 - _2bz * q0) * (_2bx * (0.5f - q2q2 - q3q3) + _2bz * (q1q3 - q0q2) - mx) + (_2bx * q1 + _2bz * q3) * (_2bx * (q1q2 - q0q3) + _2bz * (q0q1 + q2q3) - my) + (_2bx * q0 - _4bz * q2) * (_2bx * (q0q2 + q1q3) + _2bz * (0.5f - q1q1 - q2q2) - mz);
        s3 = _2q1 * (2.0f * q1q3 - _2q0q2 - ax) + _2q2 * (2.0f * q0q1 + _2q2q3 - ay) + (-_4bx * q3 + _2bz * q1) * (_2bx * (0.5f - q2q2 - q3q3) + _2bz * (q1q3 - q0q2) - mx) + (-_2bx * q0 + _2bz * q2) * (_2bx * (q1q2 - q0q3) + _2bz * (q0q1 + q2q3) - my) + _2bx * q1 * (_2bx * (q0q2 + q1q3) + _2bz * (0.5f - q1q1 - q2q2) - mz);

        // Normalisation du pas de correction
        recipNorm = 1.0f / sqrtf(s0 * s0 + s1 * s1 + s2 * s2 + s3 * s3);
        s0 *= recipNorm;
        s1 *= recipNorm;
        s2 *= recipNorm;
        s3 *= recipNorm;

        // Application du feedback
        qDot1 -= BETA * s0;
        qDot2 -= BETA * s1;
        qDot3 -= BETA * s2;
        qDot4 -= BETA * s3;
    }

    // Intégration du quaternion
    q0 += qDot1 * dt;
    q1 += qDot2 * dt;
    q2 += qDot3 * dt;
    q3 += qDot4 * dt;

    // Normalisation du quaternion
    recipNorm = 1.0f / sqrtf(q0 * q0 + q1 * q1 + q2 * q2 + q3 * q3);
    q0 *= recipNorm;
    q1 *= recipNorm;
    q2 *= recipNorm;
    q3 *= recipNorm;
}

Orientation fusion_update(const struct sensor_value accel[3],
                          const struct sensor_value gyro[3],
                          const struct sensor_value magn[3],
                          uint32_t delta_ms)
{
    Orientation orient = {0, 0, 0};
    float ax = sensor_value_to_double(&accel[0]);
    float ay = sensor_value_to_double(&accel[1]);
    float az = sensor_value_to_double(&accel[2]);
    float gx = sensor_value_to_double(&gyro[0]);
    float gy = sensor_value_to_double(&gyro[1]);
    float gz = sensor_value_to_double(&gyro[2]);
    float mx = sensor_value_to_double(&magn[0]);
    float my = sensor_value_to_double(&magn[1]);
    float mz = sensor_value_to_double(&magn[2]);

    float dt = delta_ms / 1000.0f; // secondes

    madgwick_update(gx, gy, gz, ax, ay, az, mx, my, mz, dt);

    // Conversion quaternion → angles d'Euler
    float roll  = atan2f(2.0f * (q0 * q1 + q2 * q3), 1.0f - 2.0f * (q1 * q1 + q2 * q2));
    float pitch = asinf(2.0f * (q0 * q2 - q3 * q1));
    float yaw   = atan2f(2.0f * (q0 * q3 + q1 * q2), 1.0f - 2.0f * (q2 * q2 + q3 * q3));

    orient.roll  = roll * 180.0f / (float)M_PI;
    orient.pitch = pitch * 180.0f / (float)M_PI;
    orient.yaw   = yaw * 180.0f / (float)M_PI;

    return orient;
}
```

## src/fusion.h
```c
#ifndef FUSION_SIMPLE_H
#define FUSION_SIMPLE_H

#include <zephyr/drivers/sensor.h>

typedef struct {
    double roll;   // degrés
    double pitch;
    double yaw;
} Orientation;

/**
 * @brief Initialise le filtre de fusion.
 */
void fusion_init(void);

/**
 * @brief Met à jour l'orientation avec les nouvelles mesures.
 * @param accel Tableau de 3 sensor_value (m/s²)
 * @param gyro  Tableau de 3 sensor_value (rad/s)
 * @param magn  Tableau de 3 sensor_value (µT)
 * @param delta_ms Temps écoulé depuis la dernière mise à jour (ms)
 * @return Orientation actuelle.
 */
Orientation fusion_update(const struct sensor_value accel[3],
                          const struct sensor_value gyro[3],
                          const struct sensor_value magn[3],
                          uint32_t delta_ms);

#endif /* FUSION_SIMPLE_H */
```
